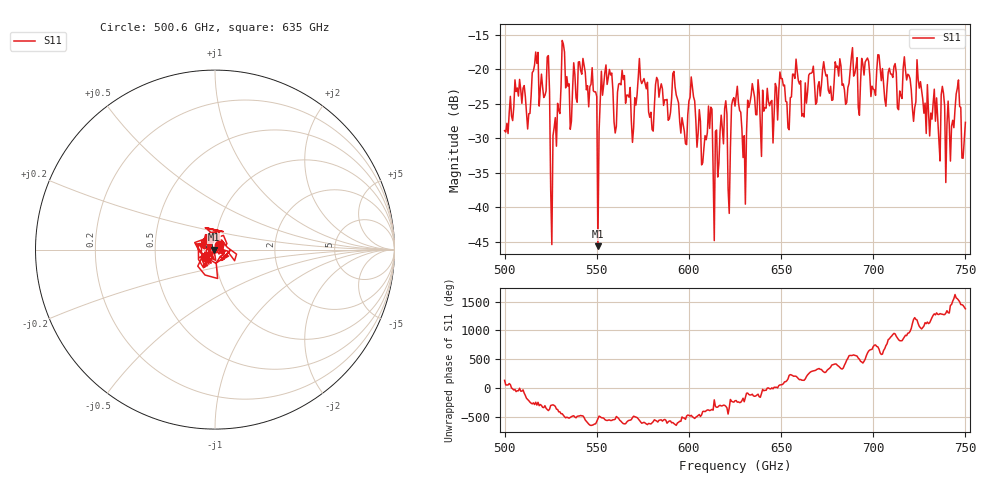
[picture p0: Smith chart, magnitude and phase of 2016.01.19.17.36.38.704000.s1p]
!Created with skrf (http://scikit-rf.org).
# GHz S RI R 50.0
!freq ReS11 ImS11
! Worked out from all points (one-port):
!   401 points, 500 GHz to 750 GHz, reference 50 ohm
!   lowest |S11| = -45.6 dB at 550.6 GHz (marker M1), VSWR 1.01, Z = 49.5 - j0.0878 ohm
!   |S11| at or under -10 dB: start of sweep to end of sweep
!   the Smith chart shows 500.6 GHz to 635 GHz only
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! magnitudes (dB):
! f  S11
! 500 GHz  -28.9
! 506.9 GHz  -22.7
! 513.1 GHz  -26.4
! 516.9 GHz  -17.5
! 523.1 GHz  -18.2
! 526.2 GHz  -29.6
! 531.2 GHz  -15.8
! 548.1 GHz  -23.1
! 550.6 GHz  -45.6
! 553.8 GHz  -22.3
! 562.5 GHz  -22.1
! 570 GHz  -28.5
! 573.8 GHz  -21.5
! 593.8 GHz  -24.3
! 598.1 GHz  -30.8
! 601.9 GHz  -22.6
! 608.1 GHz  -31.4
! 611.2 GHz  -28.6
! 614.4 GHz  -29.0
! 618.8 GHz  -30.8
! 622.5 GHz  -31.5
! 625 GHz  -25.3
! 630 GHz  -29.6
! 634.4 GHz  -22.1
! 656.2 GHz  -20.7
! 687.5 GHz  -20.1
! 718.8 GHz  -20.7
! 750 GHz  -27.7
